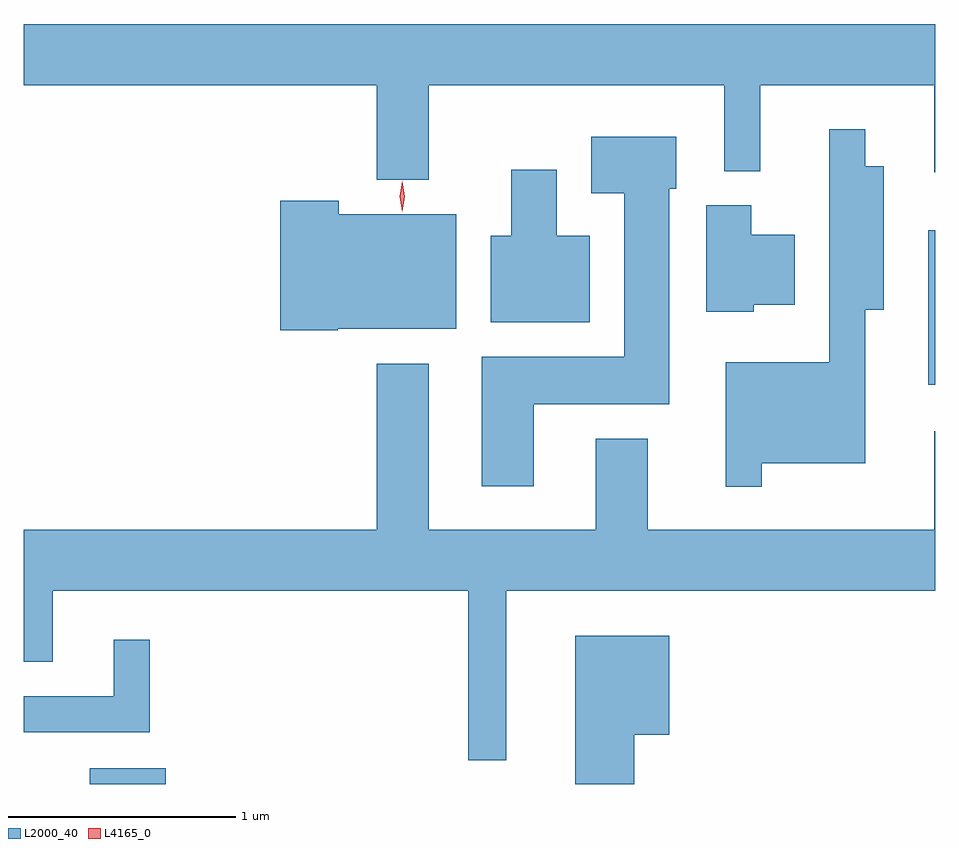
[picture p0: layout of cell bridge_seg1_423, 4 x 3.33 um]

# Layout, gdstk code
import gdstk
lib = gdstk.Library(unit=1e-6, precision=1e-09)
def R(c, l, rs):  # rectangles x0, y0, x1, y1
    for r in rs: c.add(gdstk.rectangle(r[:2], r[2:], *l))
def P(c, l, *ps):  # polygons
    for p in ps: c.add(gdstk.Polygon(p, *l))
L2000_40 = (2000, 40)
L4165_0 = (4165, 0)

bridge_seg1_423 = lib.new_cell('bridge_seg1_423')
R(bridge_seg1_423, L2000_40, [(199.261,883.189,199.594,883.259), (202.941,884.941,202.971,885.619)])
P(bridge_seg1_423, L2000_40, [(200.749,886.256),(202.046,886.256),(202.046,885.878),(202.204,885.878),(202.204,886.256),(202.966,886.256),(202.966,885.873),(202.971,885.873),(202.971,886.524),(198.971,886.524),(198.971,886.256),(200.521,886.256),(200.521,885.841),(200.749,885.841)],
  [(202.209,884.596),(202.664,884.596),(202.664,885.271),(202.744,885.271),(202.744,885.899),(202.664,885.899),(202.664,886.063),(202.506,886.063),(202.506,885.039),(202.051,885.039),(202.051,884.493),(202.209,884.493)],
  [(201.209,884.856),(201.804,884.856),(201.804,885.801),(201.834,885.801),(201.834,886.029),(201.461,886.029),(201.461,885.781),(201.606,885.781),(201.606,885.064),(200.981,885.064),(200.981,884.496),(201.209,884.496)],
  [(201.454,885.594),(201.309,885.594),(201.309,885.884),(201.111,885.884),(201.111,885.594),(201.021,885.594),(201.021,885.216),(201.454,885.216)],
  [(200.35,885.186),(200.869,885.186),(200.869,885.689),(200.354,885.689),(200.354,885.749),(200.096,885.749),(200.096,885.181),(200.35,885.181)],
  [(202.174,885.291),(202.354,885.291),(202.354,885.599),(202.164,885.599),(202.164,885.729),(201.966,885.729),(201.966,885.261),(202.174,885.261)],
  [(201.089,884.036),(202.971,884.036),(202.971,884.738),(202.966,884.738),(202.966,884.304),(201.709,884.304),(201.709,884.704),(201.481,884.704),(201.481,884.304),(200.749,884.304),(200.749,885.034),(200.521,885.034),(200.521,884.304),(198.971,884.304),(198.971,883.726),(199.099,883.726),(199.099,884.036),(200.921,884.036),(200.921,883.293),(201.089,883.293)],
  [(201.649,883.406),(201.804,883.406),(201.804,883.839),(201.391,883.839),(201.391,883.189),(201.649,883.189)],
  [(199.524,883.823),(199.366,883.823),(199.366,883.574),(198.971,883.574),(198.971,883.416),(199.524,883.416)])
P(bridge_seg1_423, L4165_0, [(200.632,885.701),(200.632,885.701),(200.622,885.767),(200.632,885.834),(200.632,885.834),(200.632,885.834),(200.642,885.767),(200.632,885.701)])

lib.write_gds('bridge_seg1_423.gds')
